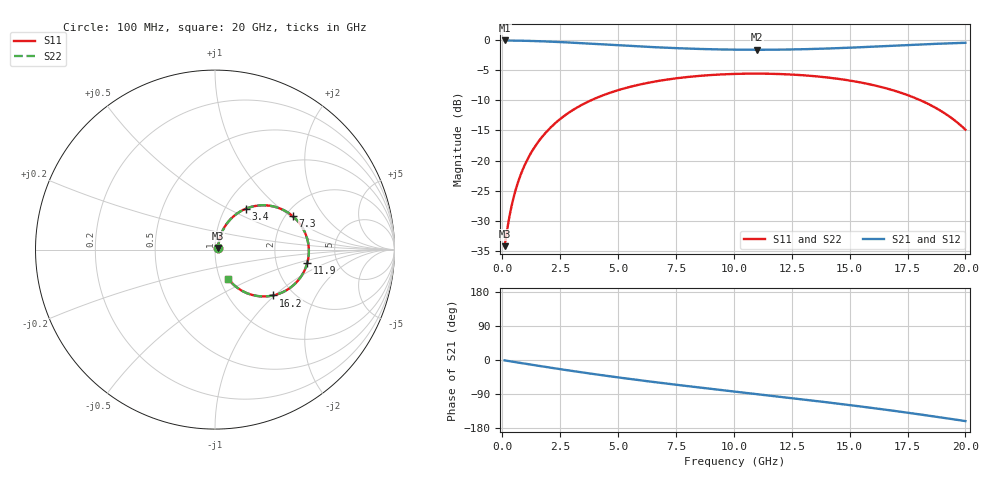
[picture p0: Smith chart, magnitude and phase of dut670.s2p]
! Touchstone file exported from HFSS 2026.1.0
!  File:  C:/ffzhzh/LocalFiles/Ansys_Project_Files/temp_train_TSV_RDL_670_1783132042_53076.aedt
!  Generated:  10:39:13 AM Jul  4, 2026
!  Design:  TSV_RDL
!  Project:  temp_train_TSV_RDL_670_1783132042_53076
! Variables:
!  h_bsmrdl = 5.37um
!  h_ox = 20um
!  h_rdl = 5um
!  h_sub = 68.96um
!  h_tmrdl = 5.36um
!  h_tsv = 68.96um
!  h_via = 3um
!  l_bsmrdl = 268.68um
!  l_sub = 2803.63um
!  l_tmrdl = 377.7um
!  m_sub = 200um
!  pitch = 35um
!  r_tsv = 2.94um
!  s_tmrdl = 10um
!  w_bsmrdl = 12.17um
!  w_sub = 500um
!  w_tmrdl = 16.76um
!  x_tsv_center1 = 386.08um
!  x_tsv_center2 = 666.93um
!  x_tsv_center3 = 1061.39um
!  x_tsv_center4 = 1342.24um
!  x_tsv_center5 = 1736.7um
!  x_tsv_center6 = 2017.55um
# GHz S MA R 50.000000
! Terminal data exported
! Port[1] = TM_RDL1_1_T1
! Port[2] = TM_RDL5_1_T1
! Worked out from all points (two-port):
!   200 points, 100 MHz to 20 GHz, reference 50 ohm
!   highest |S21| = -0.15 dB at 100 MHz (marker M1); lowest = -1.7 dB at 11 GHz (marker M2)
!   |S21| within 3 dB of the highest: start of sweep to end of sweep
!   lowest |S11| = -34.1 dB at 100 MHz (marker M3), VSWR 1.04, Z = 51.7 + j0.993 ohm
!   |S11| at or under -10 dB: start of sweep to 3.855 GHz; 18.04 GHz to end of sweep
!   |S22| runs from -34.1 to -5.6 dB; largest |S21 - S12| = 1.6e-14
!   S11 on the Smith chart (normalised r, x): 100 MHz: 1.03, +0.02; 3.4 GHz: 1.25, +0.62; 7.3 GHz: 2.20, +1.05; 11.9 GHz: 3.02, -0.61; 16.2 GHz: 1.59, -0.98; 20 GHz: 1.10, -0.37
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0.1  0.01963 29.3  0.983 -1.0  0.983 -1.0  0.01963 29.3
! Gamma 0 0 0 0
! Port Impedance 50 0 50 0
0.3  0.03384 55.3  0.9818 -3.0  0.9818 -3.0  0.03384 55.3
0.5  0.05061 63.9  0.9806 -5.0  0.9806 -5.0  0.05061 63.9
0.8  0.07689 67.9  0.9784 -7.9  0.9784 -7.9  0.07689 67.9
1.2  0.1122 68.2  0.9744 -11.8  0.9744 -11.8  0.1122 68.2
1.6  0.1469 66.4  0.9691 -15.7  0.9691 -15.7  0.1469 66.4
2.1  0.1887 63.1  0.9609 -20.4  0.9609 -20.4  0.1887 63.1
3.4  0.2863 52.8  0.9339 -32.3  0.9339 -32.3  0.2863 52.9
3.5  0.2931 52.0  0.9317 -33.2  0.9317 -33.2  0.2931 52.0
5.1  0.3867 39.3  0.895 -46.7  0.895 -46.7  0.3867 39.3
6.8  0.457 26.6  0.8608 -60.0  0.8608 -60.0  0.457 26.7
7.3  0.4725 23.1  0.8525 -63.8  0.8525 -63.8  0.4725 23.1
10.1  0.5205 3.9  0.8248 -83.8  0.8248 -83.8  0.5205 3.9
11  0.5231 -2.1  0.8232 -90.1  0.8232 -90.1  0.5231 -2.1
11.9  0.5195 -8.2  0.8251 -96.4  0.8251 -96.4  0.5195 -8.2
13.4  0.4998 -18.3  0.8359 -107.1  0.8359 -107.1  0.4998 -18.3
14.9  0.4618 -28.8  0.855 -118.2  0.855 -118.2  0.4618 -28.8
16.2  0.4128 -38.2  0.8766 -128.3  0.8766 -128.3  0.4128 -38.2
16.7  0.3897 -41.9  0.8856 -132.4  0.8856 -132.4  0.3897 -41.9
18.6  0.2804 -56.1  0.9198 -148.5  0.9198 -148.5  0.2804 -56.1
19.4  0.2248 -61.8  0.9321 -155.7  0.9321 -155.7  0.2248 -61.7
20  0.1801 -65.4  0.9397 -161.2  0.9397 -161.2  0.1801 -65.4
